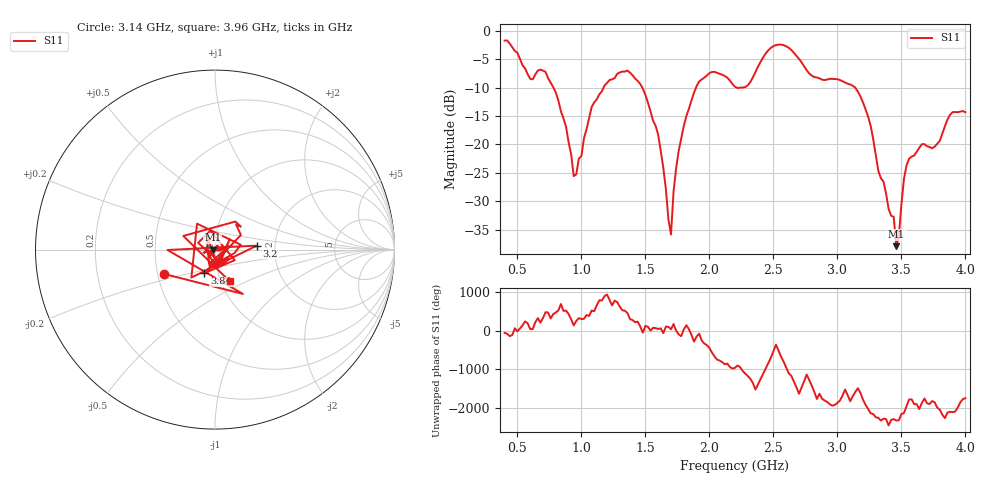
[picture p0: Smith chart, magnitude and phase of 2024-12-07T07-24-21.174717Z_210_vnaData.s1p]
!Created with skrf (http://scikit-rf.org).
# Hz S RI R 50.0
!freq ReS11 ImS11
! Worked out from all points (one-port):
!   181 points, 400 MHz to 4 GHz, reference 50 ohm
!   lowest |S11| = -37.9 dB at 3.46 GHz (marker M1), VSWR 1.03, Z = 48.7 - j0.0702 ohm
!   |S11| at or under -10 dB: 781.8 MHz to 1.173 GHz (390.9 MHz wide, 40 % of centre); 1.476 GHz to 1.895 GHz (419.5 MHz wide, 24.9 % of centre); 3.14 GHz to end of sweep (the widest 3 of 4)
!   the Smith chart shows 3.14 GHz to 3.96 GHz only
!   S11 on the Smith chart (normalised r, x): 3.14 GHz: 0.54, -0.16; 3.2 GHz: 1.61, +0.08; 3.84 GHz: 0.86, -0.23; 3.96 GHz: 1.10, -0.40
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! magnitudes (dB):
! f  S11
! 400 MHz  -1.7
! 600 MHz  -8.4
! 720 MHz  -7.2
! 860 MHz  -15.4
! 940 MHz  -25.6
! 960 MHz  -25.3
! 1.08 GHz  -13.4
! 1.3 GHz  -7.3
! 1.46 GHz  -9.4
! 1.58 GHz  -16.7
! 1.7 GHz  -35.9
! 1.72 GHz  -28.3
! 1.76 GHz  -21.1
! 1.92 GHz  -8.9
! 2.2 GHz  -9.8
! 2.5 GHz  -2.7
! 2.66 GHz  -3.9
! 2.82 GHz  -8.1
! 3.1 GHz  -9.4
! 3.14 GHz  -10.0
! 3.2 GHz  -12.6
! 3.44 GHz  -32.7
! 3.46 GHz  -37.9
! 3.52 GHz  -26.1
! 3.56 GHz  -22.5
! 3.84 GHz  -16.8
! 3.96 GHz  -14.2
! 4 GHz  -14.3
